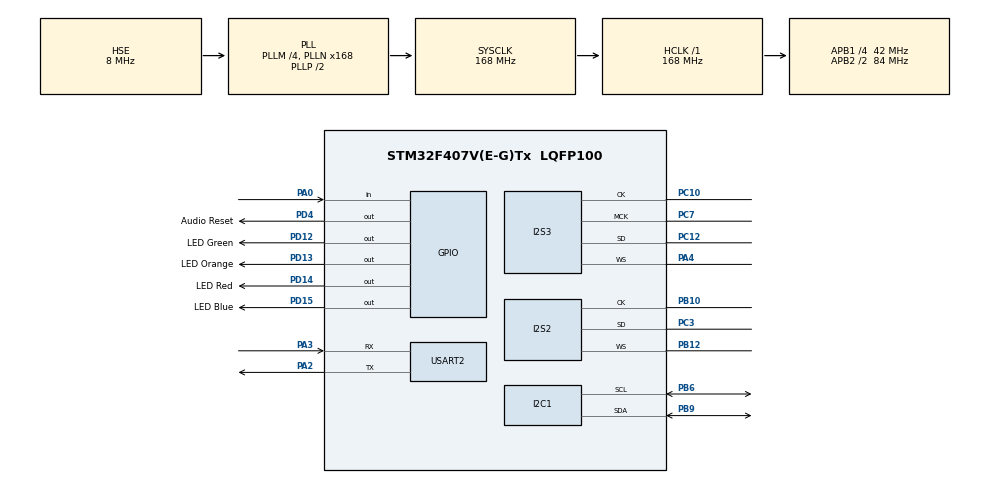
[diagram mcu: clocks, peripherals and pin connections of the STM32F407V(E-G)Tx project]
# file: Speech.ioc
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Dma.Request0=SPI3_TX
Dma.SPI3_TX.0.Direction=DMA_MEMORY_TO_PERIPH
Dma.SPI3_TX.0.FIFOMode=DMA_FIFOMODE_ENABLE
Dma.SPI3_TX.0.FIFOThreshold=DMA_FIFO_THRESHOLD_FULL
Dma.SPI3_TX.0.Instance=DMA1_Stream5
Dma.SPI3_TX.0.MemBurst=DMA_MBURST_SINGLE
Dma.SPI3_TX.0.MemDataAlignment=DMA_MDATAALIGN_HALFWORD
Dma.SPI3_TX.0.MemInc=DMA_MINC_ENABLE
Dma.SPI3_TX.0.Mode=DMA_CIRCULAR
Dma.SPI3_TX.0.PeriphBurst=DMA_PBURST_SINGLE
Dma.SPI3_TX.0.PeriphDataAlignment=DMA_PDATAALIGN_HALFWORD
Dma.SPI3_TX.0.PeriphInc=DMA_PINC_DISABLE
Dma.SPI3_TX.0.Priority=DMA_PRIORITY_LOW
I2S2.AudioFreq=I2S_AUDIOFREQ_16K
I2S2.ErrorAudioFreq=-0.35 %
I2S2.FullDuplexMode=I2S_FULLDUPLEXMODE_DISABLE
I2S2.Instance=SPI$Index
I2S2.Mode=I2S_MODE_MASTER_RX
I2S2.RealAudioFreq=15.943 KHz
I2S2.VirtualMode=I2S_MODE_MASTER
I2S3.AudioFreq=I2S_AUDIOFREQ_16K
I2S3.ErrorAudioFreq=1.72 %
I2S3.FullDuplexMode=I2S_FULLDUPLEXMODE_DISABLE
I2S3.Instance=SPI$Index
I2S3.RealAudioFreq=16.276 KHz
I2S3.VirtualMode=I2S_MODE_MASTER
Mcu.Family=STM32F4
Mcu.Name=STM32F407V(E-G)Tx
Mcu.Package=LQFP100
NVIC.DMA1_Stream5_IRQn=true\:0\:0\:false\:false\:true\:false
NVIC.PriorityGroup=NVIC_PRIORITYGROUP_0
PA0-WKUP.Signal=GPIO_Input
PA2.Mode=Asynchronous
PA2.Signal=USART2_TX
PA3.Mode=Asynchronous
PA3.Signal=USART2_RX
PA4.Mode=Half_Duplex_Master
PA4.Signal=I2S3_WS
PB10.Mode=Half_Duplex_Master
PB10.Signal=I2S2_CK
PB12.Mode=Half_Duplex_Master
PB12.Signal=I2S2_WS
PB6.Mode=I2C
PB6.Signal=I2C1_SCL
PB9.Mode=I2C
PB9.Signal=I2C1_SDA
PC10.Mode=Half_Duplex_Master
PC10.Signal=I2S3_CK
PC12.Mode=Half_Duplex_Master
PC12.Signal=I2S3_SD
PC3.Mode=Half_Duplex_Master
PC3.Signal=I2S2_SD
PC7.Mode=Master_Clock_Activated
PC7.Signal=I2S3_MCK
PD12.GPIO_Label=LED Green
PD12.Signal=GPIO_Output
PD13.GPIO_Label=LED Orange
PD13.Signal=GPIO_Output
PD14.GPIO_Label=LED Red
PD14.Signal=GPIO_Output
PD15.GPIO_Label=LED Blue
PD15.Signal=GPIO_Output
PD4.GPIO_Label=Audio Reset
PD4.Signal=GPIO_Output
PH0-OSC_IN.Mode=HSE-External-Oscillator
PH0-OSC_IN.Signal=RCC_OSC_IN
PH1-OSC_OUT.Mode=HSE-External-Oscillator
PH1-OSC_OUT.Signal=RCC_OSC_OUT
ProjectManager.HeapSize=0x200
ProjectManager.StackSize=0x400
ProjectManager.TargetToolchain=SW4STM32
RCC.48MHZClocksFreq_Value=48000000
RCC.AHBFreq_Value=168000000
RCC.APB1CLKDivider=RCC_HCLK_DIV4
RCC.APB1Freq_Value=42000000
RCC.APB1TimFreq_Value=84000000
RCC.APB2CLKDivider=RCC_HCLK_DIV2
RCC.APB2Freq_Value=84000000
RCC.APB2TimFreq_Value=168000000
RCC.CortexFreq_Value=168000000
RCC.HCLKFreq_Value=168000000
RCC.HSE_VALUE=8000000
RCC.HSI_VALUE=16000000
RCC.LSE_VALUE=32768
RCC.PLLI2SN=50
RCC.PLLM=4
RCC.PLLN=168
RCC.PLLQ=7
RCC.PLLSourceVirtual=RCC_PLLSOURCE_HSE
RCC.SYSCLKFreq_VALUE=168000000
RCC.SYSCLKSource=RCC_SYSCLKSOURCE_PLLCLK
RCC.VCOOutputFreq_Value=336000000
USART2.VirtualMode=VM_ASYNC
board=STM32F4DISCOVERY

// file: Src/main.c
/* USER CODE BEGIN Header */
/**
  ******************************************************************************
  * @file           : main.c
  * @brief          : Main program body
  ******************************************************************************
  ** This notice applies to any and all portions of this file
  * that are not between comment pairs USER CODE BEGIN and
  * USER CODE END. Other portions of this file, whether
  * inserted by the user or by software development tools
  * are owned by their respective copyright owners.
  *
  * COPYRIGHT(c) 2019 STMicroelectronics
  *
  * Redistribution and use in source and binary forms, with or without modification,
  * are permitted provided that the following conditions are met:
  *   1. Redistributions of source code must retain the above copyright notice,
  *      this list of conditions and the following disclaimer.
  *   2. Redistributions in binary form must reproduce the above copyright notice,
  *      this list of conditions and the following disclaimer in the documentation
  *      and/or other materials provided with the distribution.
  *   3. Neither the name of STMicroelectronics nor the names of its contributors
  *      may be used to endorse or promote products derived from this software
  *      without specific prior written permission.
  *
  * THIS SOFTWARE IS PROVIDED BY THE COPYRIGHT HOLDERS AND CONTRIBUTORS "AS IS"
  * AND ANY EXPRESS OR IMPLIED WARRANTIES, INCLUDING, BUT NOT LIMITED TO, THE
  * IMPLIED WARRANTIES OF MERCHANTABILITY AND FITNESS FOR A PARTICULAR PURPOSE ARE
  * DISCLAIMED. IN NO EVENT SHALL THE COPYRIGHT HOLDER OR CONTRIBUTORS BE LIABLE
  * FOR ANY DIRECT, INDIRECT, INCIDENTAL, SPECIAL, EXEMPLARY, OR CONSEQUENTIAL
  * DAMAGES (INCLUDING, BUT NOT LIMITED TO, PROCUREMENT OF SUBSTITUTE GOODS OR
  * SERVICES; LOSS OF USE, DATA, OR PROFITS; OR BUSINESS INTERRUPTION) HOWEVER
  * CAUSED AND ON ANY THEORY OF LIABILITY, WHETHER IN CONTRACT, STRICT LIABILITY,
  * OR TORT (INCLUDING NEGLIGENCE OR OTHERWISE) ARISING IN ANY WAY OUT OF THE USE
  * OF THIS SOFTWARE, EVEN IF ADVISED OF THE POSSIBILITY OF SUCH DAMAGE.
  *
  ******************************************************************************
  */
/* USER CODE END Header */

#include "main.h"

/* USER CODE BEGIN Includes */
#include "MY_CS43L22.h"
#include "pdm_fir.h"
#include <stdio.h>
#include <audio_data.h>
/* USER CODE END Includes */

I2C_HandleTypeDef hi2c1;

I2S_HandleTypeDef hi2s2;
I2S_HandleTypeDef hi2s3;
DMA_HandleTypeDef hdma_spi3_tx;

UART_HandleTypeDef huart2;

/* USER CODE BEGIN PV */

#define PDM_BUFFER_SIZE 32000
#define PCM_BUFFER_SIZE 32000
#define SPEECH_DATA_SIZE	8000

//int16_t PCM_buffer[PCM_BUFFER_SIZE];
//int16_t PCM_buffer_Filt[PCM_BUFFER_SIZE];

/* USER CODE END PV */

void SystemClock_Config(void);
static void MX_GPIO_Init(void);
static void MX_DMA_Init(void);
static void MX_I2C1_Init(void);
static void MX_I2S3_Init(void);
static void MX_I2S2_Init(void);
static void MX_USART2_UART_Init(void);
/* USER CODE BEGIN PFP */

void UART_16_Tx(int16_t Data);

/* USER CODE END PFP */

/* USER CODE BEGIN 0 */

struct pdm_fir_filter Filter;

/* USER CODE END 0 */

int main(void)
{
  /* USER CODE BEGIN 1 */
	int16_t PDM_buffer[PDM_BUFFER_SIZE];
	int32_t CC[SPEECH_DATA_SIZE];
	int32_t CC_ON_Max=0;
	uint16_t CC_ON_Max_ind=0;
	//uint32_t CC[SPEECH_DATA_SIZE];
	int32_t CC_OFF_Max=0;
	uint16_t CC_OFF_Max_ind=0;
	//uint16_t Recoard_Data[SPEECH_DATA_SIZE];
	//int16_t Recoard_Max;
	uint8_t flag=0;
	uint16_t ch[3]= {0xAAAA, 0xAAAA, 0xAAAA};
	int32_t Recoard_AVG;
	int32_t Recoard_SUM=0;

  /* USER CODE END 1 */

  /* MCU Configuration--------------------------------------------------------*/

  /* Reset of all peripherals, Initializes the Flash interface and the Systick. */
  HAL_Init();

  /* Configure the system clock */
  SystemClock_Config();

  /* Initialize all configured peripherals */
  MX_GPIO_Init();
  MX_DMA_Init();
  MX_I2C1_Init();
  MX_I2S3_Init();
  MX_I2S2_Init();
  MX_USART2_UART_Init();
  /* USER CODE BEGIN 2 */
  CS43_Init(hi2c1, MODE_I2S);
  CS43_SetVolume(10); //0 - 100,, 40
  CS43_Enable_RightLeft(CS43_RIGHT);
  CS43_Start();

  /* Enable CRC module */
 // RCC->AHB1ENR |= RCC_AHB1ENR_CRCEN;
  pdm_fir_flt_init(&Filter);
  //HAL_I2S_Transmit_DMA(&hi2s3, (uint16_t *)PCM_buffer_Filt, PCM_BUFFER_SIZE);
  //HAL_I2S_Receive_DMA(&hi2s2, (uint16_t *)PDM_buffer, PCM_BUFFER_SIZE);
  HAL_I2S_Receive(&hi2s2, PDM_buffer, PDM_BUFFER_SIZE, 1000);
  HAL_I2S_Receive(&hi2s2, PDM_buffer, PDM_BUFFER_SIZE, 1000);
  HAL_I2S_Receive(&hi2s2, PDM_buffer, PDM_BUFFER_SIZE, 1000);

  /* USER CODE END 2 */

  /* Infinite loop */
  while (1)
  {

    /* USER CODE BEGIN 3 */

	  //UART_16_Tx(ch, 3);
	  //sprintf(CH, "Value = %d", 1);
	  //HAL_UART_Transmit(&huart2, &CH, sizeof(CH), 0x000F);

	  if(HAL_GPIO_ReadPin(GPIOA, GPIO_PIN_0)) // If the User button is pressed, recoard
	  {
		  HAL_GPIO_WritePin(GPIOD, GPIO_PIN_15, GPIO_PIN_SET);
		  HAL_GPIO_WritePin(GPIOD, GPIO_PIN_14, GPIO_PIN_RESET);
		  HAL_GPIO_WritePin(GPIOD, GPIO_PIN_13, GPIO_PIN_RESET);

  		  HAL_I2S_Receive(&hi2s2, PDM_buffer, PDM_BUFFER_SIZE, 1000);
		  HAL_GPIO_WritePin(GPIOD, GPIO_PIN_15, GPIO_PIN_RESET);

		  for (int j=0; j<PDM_BUFFER_SIZE; j++)
		  {
		  pdm_fir_flt_put(&Filter, PDM_buffer[j]);//PDM_buffer[j]
		  PDM_buffer[j]=pdm_fir_flt_get(&Filter, 16);
		   }
		  HAL_Delay(1000);
		  HAL_I2S_Transmit(&hi2s3, (uint16_t *)PDM_buffer, PCM_BUFFER_SIZE,1000);

		  Recoard_AVG=0;
		  Recoard_SUM=0;

		  for(int j=0; j<PDM_BUFFER_SIZE; j=j+4)
		  {
			  //PDM_buffer[j/4]=(PDM_buffer[j]>>6); //divide by 64 to reduce the magnitudes

			  PDM_buffer[j/4]=(PDM_buffer[j]>>4);

		  }

		  /*for (int j=0;j<SPEECH_DATA_SIZE; j=j+1)
		  {
			  PDM_buffer[j]=OFF[j];
		  }*/

		  for(int j=0; j<4096; j=j+1)
		  {
				  Recoard_SUM=Recoard_SUM+PDM_buffer[j];
				  Recoard_AVG=Recoard_SUM>>12;
		  }

		  for(int j=0; j<PDM_BUFFER_SIZE; j=j+1)
		  {
			  if(j<8000)
			  {
				  PDM_buffer[j]=PDM_buffer[j]-Recoard_AVG;
				  if((PDM_buffer[j]<125) & (PDM_buffer[j]>-125) )
				  {
					  PDM_buffer[j]=0;
				  }
			  }
			  if(j>=8000)
			  PDM_buffer[j]=0;
		  }

		  UART_16_Tx(ch[1]);
		  for (int j=0;j<SPEECH_DATA_SIZE; j=j+1)
		  {
		  UART_16_Tx(PDM_buffer[j]);
		  }

		  flag=1;

		  ///////////////
		  /*
		  SEND DATA THROUGH UART
		  UART_16_Tx(ch, 3);
		  for (int j=0;j<PDM_BUFFER_SIZE; j=j+4)
		  {
		  UART_16_Tx(PDM_buffer[j], 1);
		  }
		  */
		  //////////////

	  }
	  else // if the user button is not pressed play
	  {
		  HAL_GPIO_WritePin(GPIOD, GPIO_PIN_15, GPIO_PIN_RESET);
		  HAL_GPIO_WritePin(GPIOD, GPIO_PIN_14, GPIO_PIN_SET);
		  HAL_GPIO_WritePin(GPIOD, GPIO_PIN_13, GPIO_PIN_RESET);
		  HAL_I2S_Transmit(&hi2s3, (uint16_t *)PDM_buffer, PCM_BUFFER_SIZE,1000);
		  //HAL_Delay(1000);
		  if(flag==1)
		  {
			  HAL_GPIO_WritePin(GPIOD, GPIO_PIN_14, GPIO_PIN_RESET);
			  HAL_GPIO_WritePin(GPIOD, GPIO_PIN_13, GPIO_PIN_SET);

		  for(int j=0; j < (SPEECH_DATA_SIZE) ; j++)
		  {
		    CC[j] = 0;
		    for(int k=0; k < ((SPEECH_DATA_SIZE)-j); k++){
		    	CC[j] += (PDM_buffer[k])*(ON[k+j]);
		    }

		    if(CC[j]>CC_ON_Max)
		    {
		    	CC_ON_Max=CC[j];
		    	CC_ON_Max_ind=j;
		    }
		  }

		  for(int m=0; m < (SPEECH_DATA_SIZE) ; m++)
		  {
		    CC[m] = 0;
		    for(int k=0; k < ((SPEECH_DATA_SIZE)-m); k++){
		    	CC[m] += (PDM_buffer[k])*(OFF[k+m]);
		    }

		    if(CC[m]>CC_OFF_Max)
		    {
		    	CC_OFF_Max=CC[m];
		    	CC_OFF_Max_ind=m;
		    }
		  }
  		  HAL_Delay(1);
		  flag=0;
		  HAL_GPIO_WritePin(GPIOD, GPIO_PIN_13, GPIO_PIN_RESET);
		  }

	  }

	  //lowPassFrequency(&PCM_buffer, &PCM_buffer_Filt, 64000);

	 //HAL_Delay(1000);

  }
  /* USER CODE END 3 */
}

void SystemClock_Config(void)
{
  RCC_OscInitTypeDef RCC_OscInitStruct = {0};
  RCC_ClkInitTypeDef RCC_ClkInitStruct = {0};
  RCC_PeriphCLKInitTypeDef PeriphClkInitStruct = {0};

  /**Configure the main internal regulator output voltage
  */
  __HAL_RCC_PWR_CLK_ENABLE();
  __HAL_PWR_VOLTAGESCALING_CONFIG(PWR_REGULATOR_VOLTAGE_SCALE1);
  /**Initializes the CPU, AHB and APB busses clocks
  */
  RCC_OscInitStruct.OscillatorType = RCC_OSCILLATORTYPE_HSE;
  RCC_OscInitStruct.HSEState = RCC_HSE_ON;
  RCC_OscInitStruct.PLL.PLLState = RCC_PLL_ON;
  RCC_OscInitStruct.PLL.PLLSource = RCC_PLLSOURCE_HSE;
  RCC_OscInitStruct.PLL.PLLM = 4;
  RCC_OscInitStruct.PLL.PLLN = 168;
  RCC_OscInitStruct.PLL.PLLP = RCC_PLLP_DIV2;
  RCC_OscInitStruct.PLL.PLLQ = 7;
  if (HAL_RCC_OscConfig(&RCC_OscInitStruct) != HAL_OK)
  {
    Error_Handler();
  }
  /**Initializes the CPU, AHB and APB busses clocks
  */
  RCC_ClkInitStruct.ClockType = RCC_CLOCKTYPE_HCLK|RCC_CLOCKTYPE_SYSCLK
                              |RCC_CLOCKTYPE_PCLK1|RCC_CLOCKTYPE_PCLK2;
  RCC_ClkInitStruct.SYSCLKSource = RCC_SYSCLKSOURCE_PLLCLK;
  RCC_ClkInitStruct.AHBCLKDivider = RCC_SYSCLK_DIV1;
  RCC_ClkInitStruct.APB1CLKDivider = RCC_HCLK_DIV4;
  RCC_ClkInitStruct.APB2CLKDivider = RCC_HCLK_DIV2;

  if (HAL_RCC_ClockConfig(&RCC_ClkInitStruct, FLASH_LATENCY_5) != HAL_OK)
  {
    Error_Handler();
  }
  PeriphClkInitStruct.PeriphClockSelection = RCC_PERIPHCLK_I2S;
  PeriphClkInitStruct.PLLI2S.PLLI2SN = 50;
  PeriphClkInitStruct.PLLI2S.PLLI2SR = 2;
  if (HAL_RCCEx_PeriphCLKConfig(&PeriphClkInitStruct) != HAL_OK)
  {
    Error_Handler();
  }
}

static void MX_I2C1_Init(void)
{

  hi2c1.Instance = I2C1;
  hi2c1.Init.ClockSpeed = 100000;
  hi2c1.Init.DutyCycle = I2C_DUTYCYCLE_2;
  hi2c1.Init.OwnAddress1 = 0;
  hi2c1.Init.AddressingMode = I2C_ADDRESSINGMODE_7BIT;
  hi2c1.Init.DualAddressMode = I2C_DUALADDRESS_DISABLE;
  hi2c1.Init.OwnAddress2 = 0;
  hi2c1.Init.GeneralCallMode = I2C_GENERALCALL_DISABLE;
  hi2c1.Init.NoStretchMode = I2C_NOSTRETCH_DISABLE;
  if (HAL_I2C_Init(&hi2c1) != HAL_OK)
  {
    Error_Handler();
  }

}

static void MX_I2S2_Init(void)
{

  hi2s2.Instance = SPI2;
  hi2s2.Init.Mode = I2S_MODE_MASTER_RX;
  hi2s2.Init.Standard = I2S_STANDARD_PHILIPS;
  hi2s2.Init.DataFormat = I2S_DATAFORMAT_16B;
  hi2s2.Init.MCLKOutput = I2S_MCLKOUTPUT_DISABLE;
  hi2s2.Init.AudioFreq = I2S_AUDIOFREQ_16K;
  hi2s2.Init.CPOL = I2S_CPOL_LOW;
  hi2s2.Init.ClockSource = I2S_CLOCK_PLL;
  hi2s2.Init.FullDuplexMode = I2S_FULLDUPLEXMODE_DISABLE;
  if (HAL_I2S_Init(&hi2s2) != HAL_OK)
  {
    Error_Handler();
  }

}

static void MX_I2S3_Init(void)
{

  hi2s3.Instance = SPI3;
  hi2s3.Init.Mode = I2S_MODE_MASTER_TX;
  hi2s3.Init.Standard = I2S_STANDARD_PHILIPS;
  hi2s3.Init.DataFormat = I2S_DATAFORMAT_16B;
  hi2s3.Init.MCLKOutput = I2S_MCLKOUTPUT_ENABLE;
  hi2s3.Init.AudioFreq = I2S_AUDIOFREQ_16K;
  hi2s3.Init.CPOL = I2S_CPOL_LOW;
  hi2s3.Init.ClockSource = I2S_CLOCK_PLL;
  hi2s3.Init.FullDuplexMode = I2S_FULLDUPLEXMODE_DISABLE;
  if (HAL_I2S_Init(&hi2s3) != HAL_OK)
  {
    Error_Handler();
  }

}

static void MX_USART2_UART_Init(void)
{

  huart2.Instance = USART2;
  huart2.Init.BaudRate = 115200;
  huart2.Init.WordLength = UART_WORDLENGTH_8B;
  huart2.Init.StopBits = UART_STOPBITS_1;
  huart2.Init.Parity = UART_PARITY_NONE;
  huart2.Init.Mode = UART_MODE_TX_RX;
  huart2.Init.HwFlowCtl = UART_HWCONTROL_NONE;
  huart2.Init.OverSampling = UART_OVERSAMPLING_16;
  if (HAL_UART_Init(&huart2) != HAL_OK)
  {
    Error_Handler();
  }

}

static void MX_DMA_Init(void)
{
  /* DMA controller clock enable */
  __HAL_RCC_DMA1_CLK_ENABLE();

  /* DMA interrupt init */
  /* DMA1_Stream5_IRQn interrupt configuration */
  HAL_NVIC_SetPriority(DMA1_Stream5_IRQn, 0, 0);
  HAL_NVIC_EnableIRQ(DMA1_Stream5_IRQn);

}

static void MX_GPIO_Init(void)
{
  GPIO_InitTypeDef GPIO_InitStruct = {0};

  /* GPIO Ports Clock Enable */
  __HAL_RCC_GPIOH_CLK_ENABLE();
  __HAL_RCC_GPIOC_CLK_ENABLE();
  __HAL_RCC_GPIOA_CLK_ENABLE();
  __HAL_RCC_GPIOB_CLK_ENABLE();
  __HAL_RCC_GPIOD_CLK_ENABLE();

  /*Configure GPIO pin Output Level */
  HAL_GPIO_WritePin(GPIOD, LED_Green_Pin|LED_Orange_Pin|LED_Red_Pin|LED_Blue_Pin
                          |Audio_Reset_Pin, GPIO_PIN_RESET);

  /*Configure GPIO pin : PA0 */
  GPIO_InitStruct.Pin = GPIO_PIN_0;
  GPIO_InitStruct.Mode = GPIO_MODE_INPUT;
  GPIO_InitStruct.Pull = GPIO_NOPULL;
  HAL_GPIO_Init(GPIOA, &GPIO_InitStruct);

  /*Configure GPIO pins : LED_Green_Pin LED_Orange_Pin LED_Red_Pin LED_Blue_Pin
                           Audio_Reset_Pin */
  GPIO_InitStruct.Pin = LED_Green_Pin|LED_Orange_Pin|LED_Red_Pin|LED_Blue_Pin
                          |Audio_Reset_Pin;
  GPIO_InitStruct.Mode = GPIO_MODE_OUTPUT_PP;
  GPIO_InitStruct.Pull = GPIO_NOPULL;
  GPIO_InitStruct.Speed = GPIO_SPEED_FREQ_LOW;
  HAL_GPIO_Init(GPIOD, &GPIO_InitStruct);

}

/* USER CODE BEGIN 4 */

void UART_16_Tx(int16_t Data)
{
	uint8_t temp[4];
	uint8_t high;
	uint8_t low;

		/*temp= (uint8_t)(Data[i]>>8);
		HAL_UART_Transmit(&huart2, &temp, 1, 0x000F);
		temp= (uint8_t)Data[i];
		HAL_UART_Transmit(&huart2, &temp, 1, 0x000F);
		temp=0X32;
		HAL_UART_Transmit(&huart2, &temp, 1, 0x000F);
		*/

		high= (int8_t)(Data>>8);
		low= (int8_t)Data;
		sprintf(temp, "%02x%02x",high,low);
		HAL_UART_Transmit(&huart2, &temp, sizeof(temp), 0x000F);
		temp[0]='\n';
		HAL_UART_Transmit(&huart2, &temp, 1, 0x000F);

}

/* USER CODE END 4 */

void Error_Handler(void)
{
}

/************************ (C) COPYRIGHT STMicroelectronics *****END OF FILE****/
